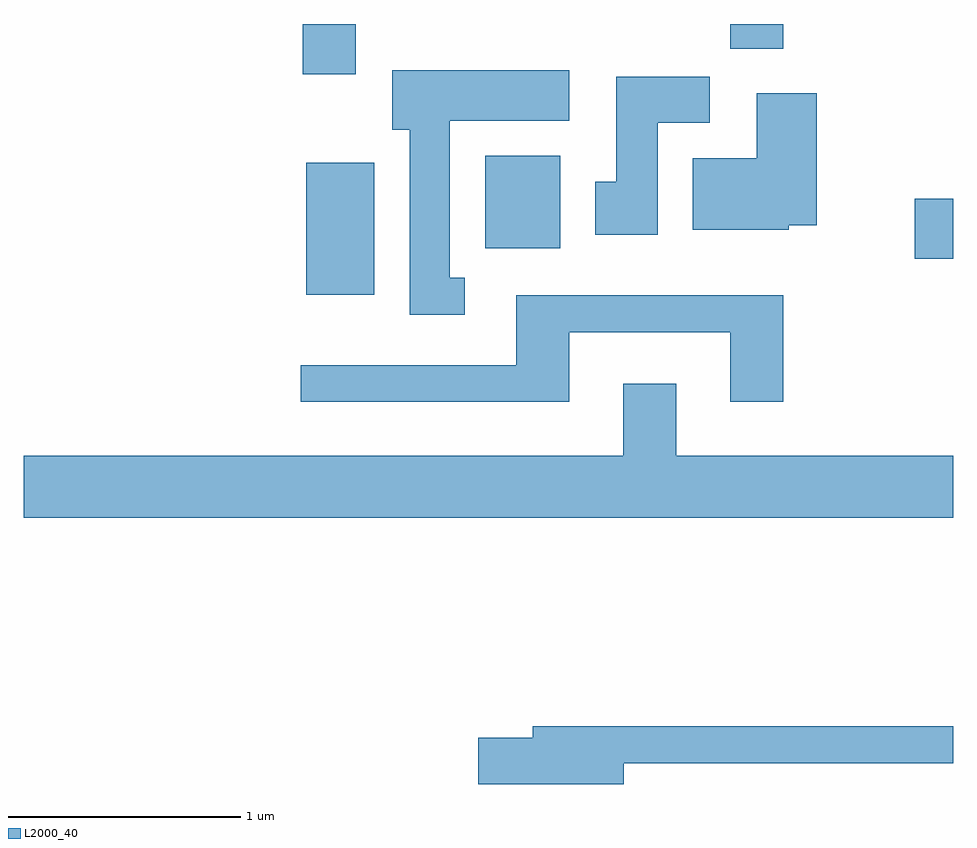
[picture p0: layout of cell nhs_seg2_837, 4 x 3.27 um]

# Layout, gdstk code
import gdstk
lib = gdstk.Library(unit=1e-6, precision=1e-09)
def R(c, l, rs):  # rectangles x0, y0, x1, y1
    for r in rs: c.add(gdstk.rectangle(r[:2], r[2:], *l))
def P(c, l, *ps):  # polygons
    for p in ps: c.add(gdstk.Polygon(p, *l))
L2000_40 = (2000, 40)

nhs_seg2_837 = lib.new_cell('nhs_seg2_837')
R(nhs_seg2_837, L2000_40, [(210.826,1022.636,211.119,1023.204), (213.446,1022.791,213.611,1023.049), (211.596,1022.836,211.919,1023.234), (210.811,1023.586,211.039,1023.802), (212.651,1023.696,212.879,1023.802)])
P(nhs_seg2_837, L2000_40, [(211.508,1022.709),(211.444,1022.709),(211.444,1023.386),(211.959,1023.386),(211.959,1023.604),(211.196,1023.604),(211.196,1023.346),(211.271,1023.346),(211.271,1022.551),(211.508,1022.551)],
  [(212.339,1023.376),(212.564,1023.376),(212.564,1023.574),(212.161,1023.574),(212.161,1023.124),(212.071,1023.124),(212.071,1022.896),(212.339,1022.896)],
  [(212.904,1022.936),(213.024,1022.936),(213.024,1023.504),(212.766,1023.504),(212.766,1023.224),(212.491,1023.224),(212.491,1022.916),(212.904,1022.916)],
  [(211.959,1022.476),(212.651,1022.476),(212.651,1022.176),(212.879,1022.176),(212.879,1022.634),(211.731,1022.634),(211.731,1022.334),(210.803,1022.334),(210.803,1022.176),(211.959,1022.176)],
  [(213.611,1021.944),(212.419,1021.944),(212.419,1022.254),(212.191,1022.254),(212.191,1021.944),(209.611,1021.944),(209.611,1021.676),(213.611,1021.676)],
  [(212.194,1020.621),(213.611,1020.621),(213.611,1020.779),(211.801,1020.779),(211.801,1020.729),(211.566,1020.729),(211.566,1020.531),(212.194,1020.531)])

lib.write_gds('nhs_seg2_837.gds')
